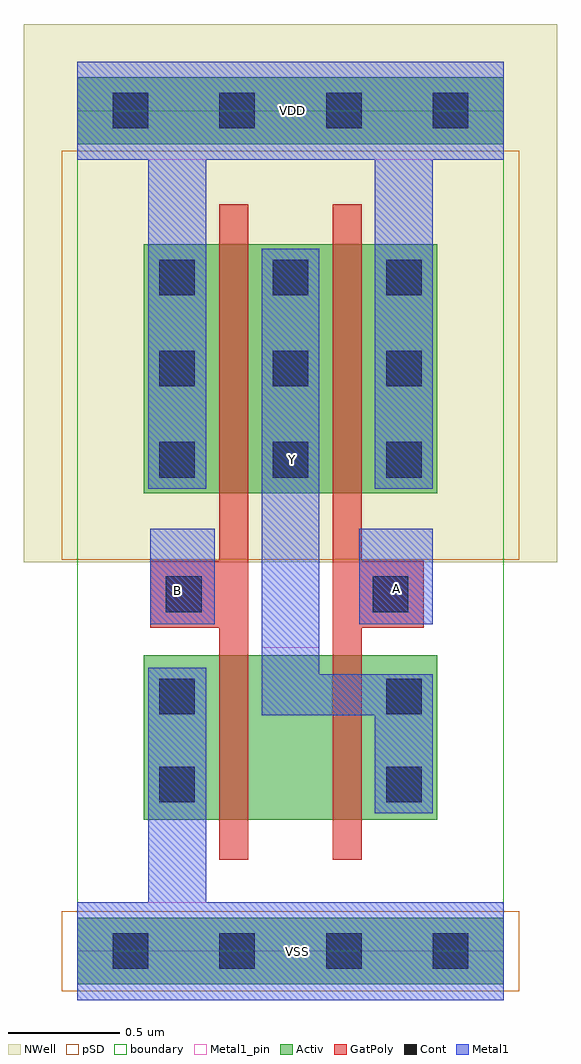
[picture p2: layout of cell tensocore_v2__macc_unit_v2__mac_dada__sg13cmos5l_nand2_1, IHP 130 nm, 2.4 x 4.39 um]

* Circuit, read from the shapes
.subckt tensocore_v2__macc_unit_v2__mac_dada__sg13cmos5l_nand2_1 A B VDD VSS Y
XM1 n1 B VSS VSS sg13_lv_nmos w=0.74u l=0.13u
XM2 Y A n1 VSS sg13_lv_nmos w=0.74u l=0.13u
XM3 Y B VDD VDD sg13_lv_pmos w=1.12u l=0.13u
XM4 VDD A Y VDD sg13_lv_pmos w=1.12u l=0.13u
.ends

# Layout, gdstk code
import gdstk
lib = gdstk.Library(unit=1e-6, precision=1e-09)
def R(c, l, rs):  # rectangles x0, y0, x1, y1
    for r in rs: c.add(gdstk.rectangle(r[:2], r[2:], *l))
def A(c, l, x, y, w, h, nx, ny, dx, dy):  # array of equal rectangles
    R(c, l, [(x+i*dx, y+j*dy, x+i*dx+w, y+j*dy+h) for i in range(nx) for j in range(ny)])
def P(c, l, *ps):  # polygons
    for p in ps: c.add(gdstk.Polygon(p, *l))
Activ = (1, 0)
GatPoly = (5, 0)
Cont = (6, 0)
Metal1 = (8, 0)
Metal1_pin = (8, 2)
pSD = (14, 0)
NWell = (31, 0)
boundary = (189, 4)

tensocore_v2__macc_unit_ = lib.new_cell('tensocore_v2__macc_unit_v2__mac_dada__sg13cmos5l_nand2_1')
R(tensocore_v2__macc_unit_, Activ, [(0,-0.15,1.92,0.15), (0.3,0.59,1.62,1.33), (0.3,2.06,1.62,3.18), (0,3.63,1.92,3.93)])
P(tensocore_v2__macc_unit_, GatPoly, [(1.15,0.41),(1.15,3.36),(1.28,3.36),(1.28,1.755),(1.56,1.755),(1.56,1.455),(1.28,1.455),(1.28,0.41)],
  [(0.64,0.41),(0.64,1.455),(0.33,1.455),(0.33,1.755),(0.64,1.755),(0.64,3.36),(0.77,3.36),(0.77,0.41)])
A(tensocore_v2__macc_unit_, Cont, 0.37, 2.13, 0.16, 0.16, 3, 3, 0.51, 0.41)
R(tensocore_v2__macc_unit_, Cont, [(0.16,-0.08,0.32,0.08), (0.16,-0.08,0.32,0.08), (0.64,-0.08,0.8,0.08), (0.64,-0.08,0.8,0.08), (1.12,-0.08,1.28,0.08), (1.12,-0.08,1.28,0.08), (1.6,-0.08,1.76,0.08), (1.6,-0.08,1.76,0.08), (0.37,0.67,0.53,0.83), (1.39,0.67,1.55,0.83), (0.37,1.065,0.53,1.225), (1.39,1.065,1.55,1.225), (0.4,1.525,0.56,1.685), (1.33,1.525,1.49,1.685), (0.16,3.7,0.32,3.86), (0.16,3.7,0.32,3.86), (0.64,3.7,0.8,3.86), (0.64,3.7,0.8,3.86), (1.12,3.7,1.28,3.86), (1.12,3.7,1.28,3.86), (1.6,3.7,1.76,3.86), (1.6,3.7,1.76,3.86)])
R(tensocore_v2__macc_unit_, Metal1, [(0.33,1.47,0.62,1.9), (1.27,1.47,1.6,1.9)])
P(tensocore_v2__macc_unit_, Metal1, [(1.34,0.62),(1.34,1.06),(0.83,1.06),(0.83,3.16),(1.09,3.16),(1.09,1.245),(1.6,1.245),(1.6,0.62)],
  [(0,-0.22),(0,0.22),(0.32,0.22),(0.32,1.275),(0.58,1.275),(0.58,0.22),(1.92,0.22),(1.92,-0.22)],
  [(0.32,2.08),(0.32,3.56),(0,3.56),(0,4),(1.92,4),(1.92,3.56),(1.6,3.56),(1.6,2.08),(1.34,2.08),(1.34,3.56),(0.58,3.56),(0.58,2.08)])
R(tensocore_v2__macc_unit_, Metal1_pin, [(0,-0.22,1.92,0.22), (0.83,1.365,1.09,3.16), (0.33,1.47,0.62,1.9), (1.27,1.47,1.6,1.9), (0,3.56,1.92,4)])
R(tensocore_v2__macc_unit_, pSD, [(-0.07,-0.18,1.99,0.18), (-0.07,1.76,1.99,3.6)])
R(tensocore_v2__macc_unit_, NWell, [(-0.24,1.75,2.16,4.17)])
R(tensocore_v2__macc_unit_, boundary, [(0,0,1.92,3.78)])
tensocore_v2__macc_unit_.add(gdstk.Label('B', (0.45,1.62), layer=8, texttype=25))
tensocore_v2__macc_unit_.add(gdstk.Label('VSS', (0.99,0), layer=8, texttype=25))
tensocore_v2__macc_unit_.add(gdstk.Label('A', (1.435,1.63), layer=8, texttype=25))
tensocore_v2__macc_unit_.add(gdstk.Label('VDD', (0.97,3.78), layer=8, texttype=25))
tensocore_v2__macc_unit_.add(gdstk.Label('Y', (0.97,2.21), layer=8, texttype=25))

lib.write_gds('tensocore_v2__macc_unit_v2__mac_dada__sg13cmos5l_nand2_1.gds')
